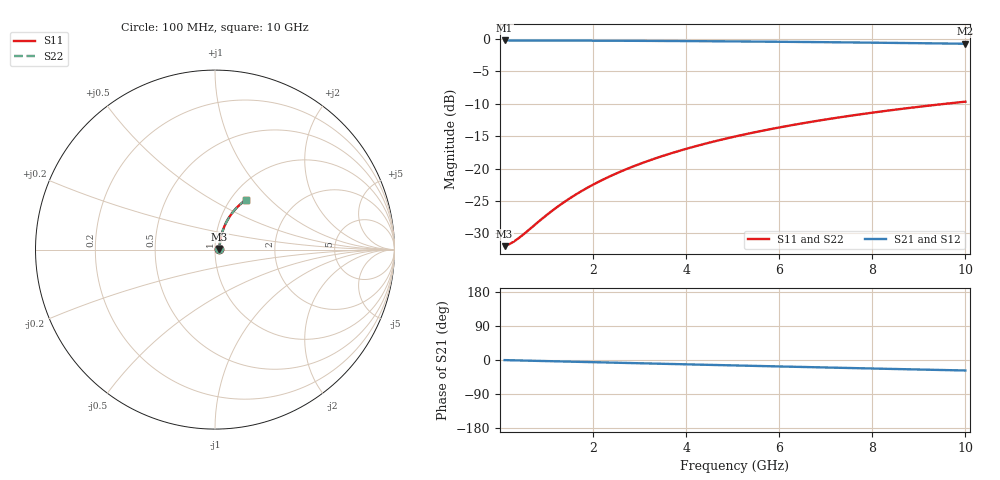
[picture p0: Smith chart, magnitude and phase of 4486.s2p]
# Hz S RI R 50.00
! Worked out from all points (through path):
!   100 points, 100 MHz to 10 GHz, reference 50 ohm
!   highest |S21| = -0.22 dB at 100 MHz (marker M1); lowest = -0.7 dB at 10 GHz (marker M2)
!   group delay of S21, straight-line fit = 7.72 ps
!   lowest |S11| = -32.0 dB at 100 MHz (marker M3), VSWR 1.05, Z = 52.6 + j0.359 ohm
!   |S11| at or under -10 dB: start of sweep to 9.576 GHz
!   |S22| runs from -32.0 to -9.7 dB; largest |S21 - S12| = 0
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1e8  0.0249 0.00341  0.9751 -0.00489  0.9751 -0.00489  0.0249 0.00341
2e8  0.0251 0.00682  0.9749 -0.00978  0.9749 -0.00978  0.0251 0.00682
3e8  0.0253 0.0102  0.9747 -0.0147  0.9747 -0.0147  0.0253 0.0102
4e8  0.0255 0.0136  0.9745 -0.0196  0.9745 -0.0196  0.0255 0.0136
9e8  0.027 0.0306  0.9729 -0.0439  0.9729 -0.0439  0.027 0.0306
1.2e9  0.0282 0.0407  0.9717 -0.0585  0.9717 -0.0585  0.0282 0.0407
1.5e9  0.0297 0.0508  0.9701 -0.073  0.9701 -0.073  0.0297 0.0508
1.8e9  0.0314 0.0608  0.9682 -0.0875  0.9682 -0.0875  0.0314 0.0608
2.1e9  0.0335 0.0708  0.966 -0.1019  0.966 -0.1019  0.0335 0.0708
2.5e9  0.0367 0.0839  0.9626 -0.121  0.9626 -0.121  0.0367 0.0839
2.9e9  0.0404 0.0969  0.9586 -0.1399  0.9586 -0.1399  0.0404 0.0969
3.4e9  0.0457 0.1128  0.9529 -0.1633  0.9529 -0.1633  0.0457 0.1128
3.8e9  0.0505 0.1253  0.9478 -0.1817  0.9478 -0.1817  0.0505 0.1253
4.2e9  0.0558 0.1376  0.9422 -0.1999  0.9422 -0.1999  0.0558 0.1376
4.6e9  0.0615 0.1496  0.936 -0.2179  0.936 -0.2179  0.0615 0.1496
5.1e9  0.0693 0.1642  0.9277 -0.24  0.9277 -0.24  0.0693 0.1642
5.9e9  0.0831 0.1865  0.9129 -0.2743  0.9129 -0.2743  0.0831 0.1865
6.7e9  0.0984 0.2076  0.8964 -0.3073  0.8964 -0.3073  0.0984 0.2076
7.5e9  0.1151 0.2271  0.8785 -0.3389  0.8785 -0.3389  0.1151 0.2271
8.4e9  0.1353 0.2473  0.8566 -0.3726  0.8566 -0.3726  0.1353 0.2473
9.2e9  0.1544 0.2635  0.8359 -0.4009  0.8359 -0.4009  0.1544 0.2635
1e10  0.1743 0.2781  0.8142 -0.4276  0.8142 -0.4276  0.1743 0.2781
